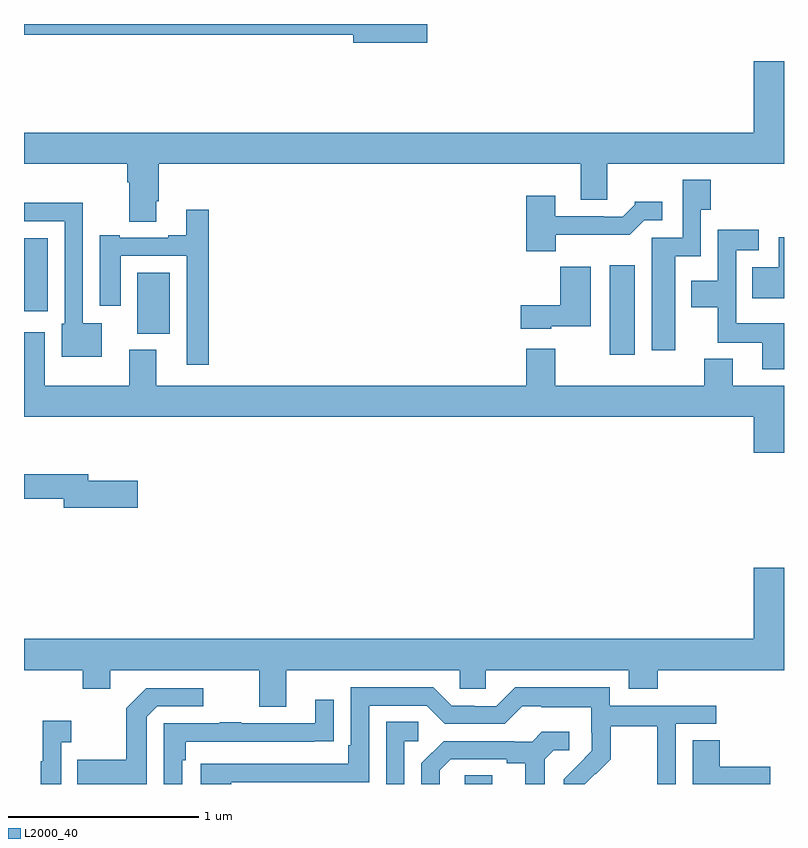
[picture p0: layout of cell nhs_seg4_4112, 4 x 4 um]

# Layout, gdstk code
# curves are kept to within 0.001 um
import gdstk
lib = gdstk.Library(unit=1e-6, precision=1e-09)
def R(c, l, rs):  # rectangles x0, y0, x1, y1
    for r in rs: c.add(gdstk.rectangle(r[:2], r[2:], *l))
def P(c, l, *ps):  # polygons
    for p in ps: c.add(gdstk.Polygon(p, *l))
L2000_40 = (2000, 40)

nhs_seg4_4112 = lib.new_cell('nhs_seg4_4112')
R(nhs_seg4_4112, L2000_40, [(331.32,782.9,331.465,782.945), (332.084,785.16,332.215,785.629), (329.597,785.27,329.767,785.59), (329,785.387,329.125,785.773)])
P(nhs_seg4_4112, L2000_40, [(331.123,786.9),(329,786.9),(329,786.844),(330.734,786.844),(330.734,786.802),(331.123,786.802)],
  [(329.695,785.968),(329.708,785.968),(329.708,786.164),(331.931,786.164),(331.931,785.974),(332.071,785.974),(332.071,786.164),(333,786.164),(333,786.703),(332.84,786.703),(332.84,786.328),(329,786.328),(329,786.164),(329.543,786.164),(329.543,786.068),(329.555,786.068),(329.555,785.86),(329.695,785.86)],
  [(332.428,785.678),(332.562,785.678),(332.562,785.923),(332.615,785.923),(332.615,786.079),(332.466,786.079),(332.466,785.775),(332.303,785.775),(332.303,785.184),(332.428,785.184)],
  [(331.798,785.79),(332.187,785.79),(332.265,785.868),(332.359,785.868),(332.359,785.965),(332.214,785.965),(332.214,785.95),(332.15,785.886),(332.051,785.886),(332.051,785.889),(331.795,785.889),(331.795,785.995),(331.643,785.995),(331.643,785.705),(331.798,785.705)],
  [(329.41,785.326),(329.31,785.326),(329.31,785.96),(329,785.96),(329,785.862),(329.214,785.862),(329.214,785.322),(329.198,785.322),(329.198,785.15),(329.41,785.15)],
  [(329.972,785.923),(329.855,785.923),(329.855,785.788),(329.759,785.788),(329.759,785.775),(329.503,785.775),(329.503,785.788),(329.399,785.788),(329.399,785.418),(329.509,785.418),(329.509,785.679),(329.856,785.679),(329.856,785.106),(329.972,785.106)],
  [(333,785.326),(332.748,785.326),(332.748,785.709),(332.866,785.709),(332.866,785.818),(332.652,785.818),(332.652,785.548),(332.513,785.548),(332.513,785.408),(332.65,785.408),(332.65,785.222),(332.885,785.222),(332.885,785.082),(333,785.082)],
  [(333,785.777),(332.972,785.777),(332.972,785.62),(332.833,785.62),(332.833,785.456),(333,785.456)],
  [(331.776,785.309),(331.984,785.309),(331.984,785.623),(331.822,785.623),(331.822,785.419),(331.614,785.419),(331.614,785.297),(331.776,785.297)],
  [(332.84,784.644),(333,784.644),(333,784.996),(332.731,784.996),(332.731,785.137),(332.579,785.137),(332.579,784.996),(331.795,784.996),(331.795,785.191),(331.643,785.191),(331.643,784.996),(329.695,784.996),(329.695,785.185),(329.555,785.185),(329.555,784.996),(329.11,784.996),(329.11,785.278),(329,785.278),(329,784.832),(332.84,784.832)],
  [(329.599,784.497),(329.338,784.497),(329.338,784.531),(329,784.531),(329,784.402),(329.21,784.402),(329.21,784.355),(329.599,784.355)],
  [(330.379,783.5),(331.293,783.5),(331.293,783.402),(331.431,783.402),(331.431,783.5),(332.183,783.5),(332.183,783.401),(332.336,783.401),(332.336,783.5),(333,783.5),(333,784.039),(332.84,784.039),(332.84,783.664),(329,783.664),(329,783.5),(329.308,783.5),(329.308,783.401),(329.455,783.401),(329.455,783.5),(330.239,783.5),(330.239,783.306),(330.379,783.306)],
  [(330.092,782.91),(330.816,782.91),(330.816,783.312),(331.119,783.312),(331.215,783.216),(331.53,783.216),(331.623,783.309),(331.723,783.309),(331.723,783.305),(331.986,783.305),(331.986,783.171),(331.988,783.171),(331.988,783.074),(331.842,782.926),(331.842,782.9),(331.952,782.9),(332.007,782.955),(332.01,782.952),(332.087,783.029),(332.087,783.204),(332.332,783.204),(332.332,782.98),(332.334,782.98),(332.334,782.9),(332.43,782.9),(332.43,783.216),(332.644,783.216),(332.644,783.312),(332.082,783.312),(332.082,783.409),(331.585,783.409),(331.485,783.309),(331.37,783.309),(331.37,783.312),(331.251,783.312),(331.155,783.408),(330.72,783.408),(330.72,783.103),(330.707,783.103),(330.707,783.006),(329.931,783.006),(329.931,782.9),(330.092,782.9)],
  [(329.646,783.255),(329.7,783.309),(329.944,783.309),(329.944,783.405),(329.643,783.405),(329.538,783.299),(329.538,783.027),(329.281,783.027),(329.281,782.9),(329.646,782.9)],
  [(329.832,783.026),(329.852,783.026),(329.852,783.123),(330.527,783.123),(330.527,783.124),(330.629,783.124),(330.629,783.343),(330.533,783.343),(330.533,783.219),(330.143,783.219),(330.143,783.224),(330.031,783.224),(330.031,783.219),(329.736,783.219),(329.736,782.9),(329.832,782.9)],
  [(329.196,783.119),(329.248,783.119),(329.248,783.232),(329.099,783.232),(329.099,783.019),(329.088,783.019),(329.088,782.9),(329.196,782.9)],
  [(331.002,783.126),(331.075,783.126),(331.075,783.227),(330.906,783.227),(330.906,782.9),(331.002,782.9)],
  [(331.189,782.973),(331.246,783.03),(331.541,783.03),(331.541,783.008),(331.637,783.008),(331.637,782.9),(331.741,782.9),(331.741,783.031),(331.788,783.078),(331.87,783.078),(331.87,783.175),(331.726,783.175),(331.674,783.123),(331.58,783.123),(331.58,783.126),(331.208,783.126),(331.092,783.01),(331.092,782.9),(331.189,782.9)],
  [(332.927,782.99),(332.663,782.99),(332.663,783.131),(332.519,783.131),(332.519,782.9),(332.927,782.9)])

lib.write_gds('nhs_seg4_4112.gds')
